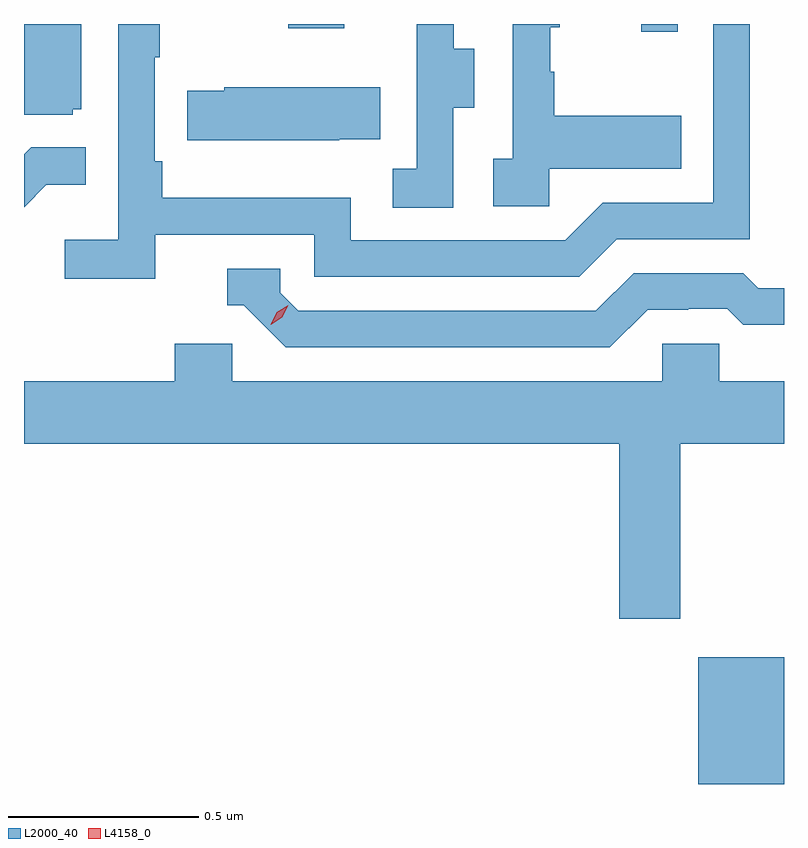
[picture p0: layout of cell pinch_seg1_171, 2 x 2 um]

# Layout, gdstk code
import gdstk
lib = gdstk.Library(unit=1e-6, precision=1e-09)
def R(c, l, rs):  # rectangles x0, y0, x1, y1
    for r in rs: c.add(gdstk.rectangle(r[:2], r[2:], *l))
def P(c, l, *ps):  # polygons
    for p in ps: c.add(gdstk.Polygon(p, *l))
L2000_40 = (2000, 40)
L4158_0 = (4158, 0)

pinch_seg1_171 = lib.new_cell('pinch_seg1_171')
R(pinch_seg1_171, L2000_40, [(1111.07,545.508,1111.296,545.842), (1110.92,547.488,1111.017,547.508), (1109.992,547.497,1110.139,547.508)])
P(pinch_seg1_171, L2000_40, [(1110.426,547.288),(1110.481,547.288),(1110.481,547.443),(1110.427,547.443),(1110.427,547.508),(1110.329,547.508),(1110.329,547.431),(1110.33,547.431),(1110.33,547.127),(1110.267,547.127),(1110.267,547.024),(1110.426,547.024)],
  [(1109.642,546.954),(1110.06,546.954),(1110.06,546.843),(1110.757,546.843),(1110.856,546.942),(1111.206,546.942),(1111.206,547.508),(1111.11,547.508),(1111.11,547.038),(1110.819,547.038),(1110.72,546.939),(1110.156,546.939),(1110.156,547.051),(1109.66,547.051),(1109.66,547.147),(1109.64,547.147),(1109.64,547.42),(1109.653,547.42),(1109.653,547.508),(1109.544,547.508),(1109.544,546.94),(1109.403,546.94),(1109.403,546.838),(1109.642,546.838)],
  [(1110.678,547.127),(1111.025,547.127),(1111.025,547.267),(1110.691,547.267),(1110.691,547.382),(1110.681,547.382),(1110.681,547.5),(1110.706,547.5),(1110.706,547.508),(1110.582,547.508),(1110.582,547.154),(1110.531,547.154),(1110.531,547.029),(1110.678,547.029)],
  [(1109.424,547.284),(1109.446,547.284),(1109.446,547.508),(1109.296,547.508),(1109.296,547.269),(1109.424,547.269)],
  [(1110.125,547.205),(1110.233,547.205),(1110.233,547.342),(1109.823,547.342),(1109.823,547.332),(1109.725,547.332),(1109.725,547.202),(1110.125,547.202)],
  [(1109.355,547.085),(1109.459,547.085),(1109.459,547.184),(1109.315,547.184),(1109.296,547.165),(1109.296,547.026)],
  [(1110.937,546.756),(1111.044,546.756),(1111.044,546.759),(1111.147,546.759),(1111.189,546.717),(1111.296,546.717),(1111.296,546.813),(1111.228,546.813),(1111.189,546.852),(1110.9,546.852),(1110.801,546.753),(1110.018,546.753),(1109.97,546.801),(1109.97,546.864),(1109.831,546.864),(1109.831,546.768),(1109.874,546.768),(1109.985,546.657),(1110.838,546.657)],
  [(1111.023,546.404),(1111.296,546.404),(1111.296,546.568),(1111.125,546.568),(1111.125,546.666),(1110.975,546.666),(1110.975,546.568),(1109.844,546.568),(1109.844,546.666),(1109.693,546.666),(1109.693,546.568),(1109.296,546.568),(1109.296,546.404),(1110.863,546.404),(1110.863,545.943),(1111.023,545.943)])
P(pinch_seg1_171, L4158_0, [(1109.945,546.716),(1109.945,546.717),(1109.961,546.749),(1109.992,546.768),(1109.992,546.768),(1109.992,546.768),(1109.976,546.736),(1109.945,546.716)])

lib.write_gds('pinch_seg1_171.gds')
